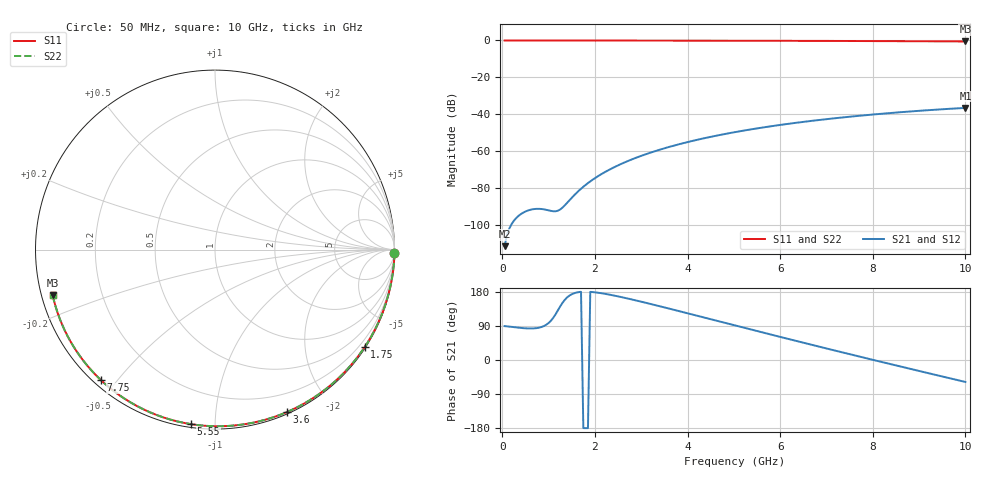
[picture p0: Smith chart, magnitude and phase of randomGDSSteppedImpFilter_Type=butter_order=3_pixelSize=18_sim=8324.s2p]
! freq	dB(S11)	phase(S11)	dB(S12)	phase(S12)
!  dB(S21)	phase(S21)	dB(S22)	phase(S22)
!S-par simulation data
#  GHz  S  DB  R 50
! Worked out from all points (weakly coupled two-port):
!   200 points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, 50 MHz to 10 GHz, reference 50 ohm
!   highest |S21| = -36.53 dB at 10 GHz (marker M1); lowest = -111.4 dB at 50 MHz (marker M2)
!   lowest |S11| = -0.5 dB at 10 GHz (marker M3), VSWR 32.05, Z = 1.59 - j6.91 ohm
!   |S11| at or under -10 dB: nowhere
!   |S22| runs from -0.5 to 0.0 dB; largest |S21 - S12| = 0
!   S11 on the Smith chart (normalised r, x): 50 MHz: open; 1.75 GHz: 0.03, -3.37; 3.6 GHz: 0.02, -1.54; 5.55 GHz: 0.02, -0.87; 7.75 GHz: 0.02, -0.46; 10 GHz: 0.03, -0.14
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0.05  -0.00 -1.0  -111.42 89.4  -111.42 89.4  -0.00 -1.0
0.45  -0.01 -8.6  -93.28 84.1  -93.28 84.1  -0.01 -8.6
0.85  -0.02 -16.3  -91.30 87.2  -91.30 87.2  -0.02 -16.3
1.25  -0.03 -23.8  -91.54 141.4  -91.54 141.4  -0.03 -23.8
1.7  -0.04 -32.2  -80.32 179.9  -80.32 179.9  -0.04 -32.2
1.75  -0.04 -33.1  -79.24 -179.7  -79.24 -179.7  -0.04 -33.1
1.9  -0.05 -35.8  -76.32 179.8  -76.32 179.8  -0.05 -35.8
2.05  -0.05 -38.6  -73.77 177.9  -73.77 177.9  -0.05 -38.6
2.25  -0.05 -42.2  -70.82 174.0  -70.82 174.0  -0.05 -42.2
2.45  -0.06 -45.8  -68.24 169.2  -68.24 169.2  -0.06 -45.8
2.9  -0.07 -53.9  -63.42 156.8  -63.42 156.8  -0.07 -53.9
3.4  -0.08 -62.6  -59.16 141.9  -59.16 141.9  -0.08 -62.6
3.6  -0.09 -66.0  -57.69 135.7  -57.69 135.7  -0.09 -66.0
4.3  -0.11 -77.8  -53.29 113.9  -53.29 113.9  -0.11 -77.8
5.05  -0.14 -90.0  -49.53 90.5  -49.53 90.5  -0.14 -90.0
5.55  -0.16 -97.9  -47.43 74.9  -47.43 74.9  -0.16 -97.9
6.1  -0.19 -106.4  -45.41 57.9  -45.41 57.9  -0.19 -106.4
6.7  -0.22 -115.5  -43.49 39.5  -43.49 39.5  -0.22 -115.5
7.75  -0.30 -131.1  -40.69 7.9  -40.69 7.9  -0.30 -131.1
8.35  -0.36 -139.8  -39.36 -9.9  -39.36 -9.9  -0.36 -139.9
9.2  -0.45 -152.3  -37.76 -34.8  -37.76 -34.8  -0.45 -152.4
10  -0.54 -164.2  -36.53 -58.0  -36.53 -58.0  -0.54 -164.3
